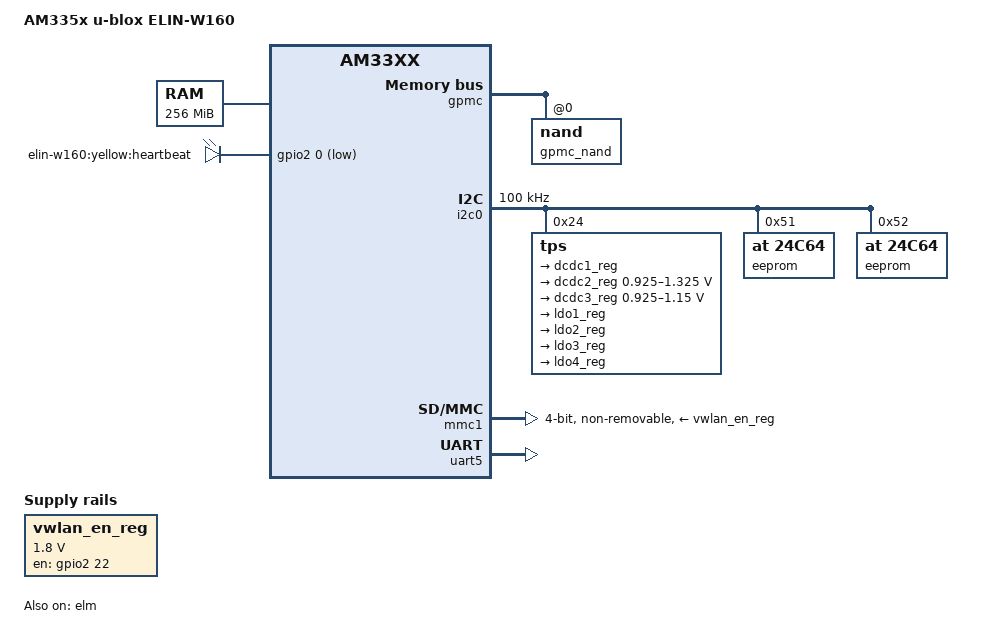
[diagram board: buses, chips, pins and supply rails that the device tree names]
/*
 * Device Tree for u-blox ELIN-W160 System-on-Module
 *
 * Copyright (C) 2014 Johan Hovold <johan@hovoldconsulting.com>
 *
 * This program is free software; you can redistribute it and/or modify
 * it under the terms of the GNU General Public License version 2 as
 * published by the Free Software Foundation.
 */

#include "am33xx.dtsi"

/ {
	model = "AM335x u-blox ELIN-W160";
	compatible = "u-blox,elin-w160", "ti,am33xx";

	cpus {
		cpu@0 {
			cpu0-supply = <&dcdc2_reg>;
			operating-points = <
				/* kHz    uV */
				800000  1300000
				600000  1112000
				300000   969000
			>;
		};
	};

	memory {
		device_type = "memory";
		reg = <0x80000000 0x10000000>;	/* 256 MB */
	};

	gpio-leds-som {
		compatible = "gpio-leds";
		pinctrl-names = "default";
		pinctrl-0 = <&gpio_leds_som_pins>;

		led@0 {
			label = "elin-w160:yellow:heartbeat";
			gpios = <&gpio2 0 GPIO_ACTIVE_LOW>;
			linux,default-trigger = "heartbeat";
		};
	};

	vwlan_en_reg: regulator-vwlan-en {
		compatible = "regulator-fixed";
		regulator-name = "vwlan_en";
		regulator-min-microvolt = <1800000>;
		regulator-max-microvolt = <1800000>;
		gpio = <&gpio2 22 0>;
		enable-active-high;
		startup-delay-us = <70000>;
		pinctrl-names = "default";
		pinctrl-0 = <&wlan_enable_pins>;
	};
};

&am33xx_pinmux {
	pinctrl-names = "default";
	pinctrl-0 = <
		&bluetooth_pins
		&clkout2_pins
		&wlan_pins
	>;

	bluetooth_pins: pinmux_bluetooth_pins {
		pinctrl-single,pins = <
			0xe4 (PIN_INPUT | MUX_MODE7)		/* lcd_hsync.gpio2_23	HOST_WAKEUP */
			0xe8 (PIN_OUTPUT | MUX_MODE7)		/* lcd_pclk.gpio2_24	RADIO_WAKEUP */
			0x138 (PIN_OUTPUT | MUX_MODE7)		/* mii1_rxd2.gpio2_19	BT_EN */
		>;
	};

	clkout2_pins: pinmux_clkout2_pins {
		pinctrl-single,pins = <
			0x1b4 (PIN_OUTPUT | MUX_MODE3)		/* xdma_event_intr1.clkout2 */
		>;
	};

	config_mem_pins: pinmux_config_mem_pins {
		pinctrl-single,pins = <
			0x48 (PIN_OUTPUT | MUX_MODE7)		/* gpmc_a2.gpio1_18	I2CMEM_WC */
		>;
	};

	cpsw_port1_pins: pinmux_cpsw_port1_pins {
		pinctrl-single,pins = <
			0x10c (PIN_INPUT_PULLDOWN | MUX_MODE1)	/* mii1_crs.rmii1_crs_dv */
			0x110 (PIN_INPUT_PULLDOWN | MUX_MODE1)	/* mii1_rx_er.rmii1_rxerr */
			0x114 (PIN_OUTPUT_PULLDOWN | MUX_MODE1)	/* mii1_tx_en.rmii1_txen */
			0x124 (PIN_OUTPUT_PULLDOWN | MUX_MODE1)	/* mii1_txd1.rmii1_txd1 */
			0x128 (PIN_OUTPUT_PULLDOWN | MUX_MODE1)	/* mii1_txd0.rmii1_txd0 */
			0x13c (PIN_INPUT_PULLDOWN | MUX_MODE1)	/* mii1_rxd1.rmii1_rxd1 */
			0x140 (PIN_INPUT_PULLDOWN | MUX_MODE1)	/* mii1_rxd0.rmii1_rxd0 */
			0x144 (PIN_INPUT_PULLDOWN | MUX_MODE0)	/* rmii1_ref_clk.rmii1_refclk */
		>;
	};

	cpsw_port1_pins_sleep: pinmux_cpsw_port1_pins_sleep {
		pinctrl-single,pins = <
			0x10c (PIN_INPUT_PULLDOWN | MUX_MODE7)
			0x110 (PIN_INPUT_PULLDOWN | MUX_MODE7)
			0x114 (PIN_INPUT_PULLDOWN | MUX_MODE7)
			0x124 (PIN_INPUT_PULLDOWN | MUX_MODE7)
			0x128 (PIN_INPUT_PULLDOWN | MUX_MODE7)
			0x13c (PIN_INPUT_PULLDOWN | MUX_MODE7)
			0x140 (PIN_INPUT_PULLDOWN | MUX_MODE7)
			0x144 (PIN_INPUT_PULLDOWN | MUX_MODE7)
		>;
	};

	cpsw_port2_pins: pinmux_cpsw_port2_pins {
		pinctrl-single,pins = <
			0x40 (PIN_OUTPUT_PULLDOWN | MUX_MODE3)	/* gpmc_a0.rmii2_txen */
			0x50 (PIN_OUTPUT_PULLDOWN | MUX_MODE3)	/* gpmc_a4.rmii2_txd1 */
			0x54 (PIN_OUTPUT_PULLDOWN | MUX_MODE3)	/* gpmc_a5.rmii2_txd0 */
			0x64 (PIN_INPUT_PULLDOWN | MUX_MODE3)	/* gpmc_a9.rmii2_crs_dv */
			0x68 (PIN_INPUT_PULLDOWN | MUX_MODE3)	/* gpmc_a10.rmii2_rxd1 */
			0x6c (PIN_INPUT_PULLDOWN | MUX_MODE3)	/* gpmc_a11.rmii2_rxd0 */
			0x108 (PIN_INPUT_PULLDOWN | MUX_MODE1)	/* mmii1_col.rmii2_refclk */
		>;
	};

	cpsw_port2_pins_sleep: pinmux_cpsw_port2_pins_sleep {
		pinctrl-single,pins = <
			0x40 (PIN_INPUT_PULLDOWN | MUX_MODE7)
			0x50 (PIN_INPUT_PULLDOWN | MUX_MODE7)
			0x54 (PIN_INPUT_PULLDOWN | MUX_MODE7)
			0x64 (PIN_INPUT_PULLDOWN | MUX_MODE7)
			0x68 (PIN_INPUT_PULLDOWN | MUX_MODE7)
			0x6c (PIN_INPUT_PULLDOWN | MUX_MODE7)
			0x108 (PIN_INPUT_PULLDOWN | MUX_MODE7)
		>;
	};

	gpio_leds_som_pins: pinmux_gpio_leds_som_pins {
		pinctrl-single,pins = <
			0x88 (PIN_OUTPUT | MUX_MODE7)		/* gpmc_csn3.gpio2_0 */
		>;
	};

	gpmc_pins: pinmux_gpmc_pins {
		pinctrl-single,pins = <
			0x0 (PIN_INPUT_PULLUP | MUX_MODE0)	/* gpmc_ad0.gpmc_ad0 */
			0x4 (PIN_INPUT_PULLUP | MUX_MODE0)	/* gpmc_ad1.gpmc_ad1 */
			0x8 (PIN_INPUT_PULLUP | MUX_MODE0)	/* gpmc_ad2.gpmc_ad2 */
			0xc (PIN_INPUT_PULLUP | MUX_MODE0)	/* gpmc_ad3.gpmc_ad3 */
			0x10 (PIN_INPUT_PULLUP | MUX_MODE0)	/* gpmc_ad4.gpmc_ad4 */
			0x14 (PIN_INPUT_PULLUP | MUX_MODE0)	/* gpmc_ad5.gpmc_ad5 */
			0x18 (PIN_INPUT_PULLUP | MUX_MODE0)	/* gpmc_ad6.gpmc_ad6 */
			0x1c (PIN_INPUT_PULLUP | MUX_MODE0)	/* gpmc_ad7.gpmc_ad7 */
			0x70 (PIN_INPUT_PULLUP | MUX_MODE0)	/* gpmc_wait0.gpmc_wait0 */
			0x74 (PIN_INPUT_PULLUP | MUX_MODE7)	/* gpmc_wpn.gpio0_30 */
			0x7c (PIN_OUTPUT | MUX_MODE0)		/* gpmc_csn0.gpmc_csn0  */
			0x90 (PIN_OUTPUT | MUX_MODE0)		/* gpmc_advn_ale.gpmc_advn_ale */
			0x94 (PIN_OUTPUT | MUX_MODE0)		/* gpmc_oen_ren.gpmc_oen_ren */
			0x98 (PIN_OUTPUT | MUX_MODE0)		/* gpmc_wen.gpmc_wen */
			0x9c (PIN_OUTPUT | MUX_MODE0)		/* gpmc_be0n_cle.gpmc_be0n_cle */
		>;
	};

	i2c0_pins: pinmux_i2c0_pins {
		pinctrl-single,pins = <
			0x188 (PIN_INPUT | MUX_MODE0)		/* i2c0_sda.i2c0_sda */
			0x18c (PIN_INPUT | MUX_MODE0)		/* i2c0_scl.i2c0_scl */
		>;
	};

	mdio_pins: pinmux_mdio_pins {
		pinctrl-single,pins = <
			0x148 (PIN_INPUT_PULLUP | SLEWCTRL_FAST | MUX_MODE0)	/* mdio_data.mdio_data */
			0x14c (PIN_OUTPUT_PULLUP | MUX_MODE0)			/* mdio_clk.mdio_clk */
		>;
	};

	mdio_pins_sleep: pinmux_mdio_pins_sleep {
		pinctrl-single,pins = <
			0x148 (PIN_INPUT_PULLDOWN | MUX_MODE7)
			0x14c (PIN_INPUT_PULLDOWN | MUX_MODE7)
		>;
	};

	mmc1_pins: pinmux_mmc1_pins {
		pinctrl-single,pins = <
			0xf0 (PIN_INPUT_PULLUP | MUX_MODE0)	/* mmc0_dat3.mmc0_dat3 */
			0xf4 (PIN_INPUT_PULLUP | MUX_MODE0)	/* mmc0_dat2.mmc0_dat2 */
			0xf8 (PIN_INPUT_PULLUP | MUX_MODE0)	/* mmc0_dat1.mmc0_dat1 */
			0xfc (PIN_INPUT_PULLUP | MUX_MODE0)	/* mmc0_dat0.mmc0_dat0 */
			0x100 (PIN_INPUT_PULLUP | MUX_MODE0)	/* mmc0_clk.mmc0_clk */
			0x104 (PIN_INPUT_PULLUP | MUX_MODE0)	/* mmc0_cmd.mmc0_cmd */
		>;
	};

	mmc2_clk_cmd_dat0_pins: pinmux_mmc2_clk_cmd_dat0_pins {
		pinctrl-single,pins = <
			0x20 (PIN_INPUT_PULLUP | MUX_MODE2)	/* gpmc_ad8.mmc1_dat0 */
			0x80 (PIN_INPUT_PULLUP | MUX_MODE2)	/* gpmc_csn1.mmc1_clk */
			0x84 (PIN_INPUT_PULLUP | MUX_MODE2)	/* gpmc_csn2.mmc1_cmd */
		>;
	};

	mmc2_dat1_3_pins: pinmux_mmc2_dat1_3_pins {
		pinctrl-single,pins = <
			0x24 (PIN_INPUT_PULLUP | MUX_MODE2)	/* gpmc_ad9.mmc1_dat1 */
			0x28 (PIN_INPUT_PULLUP | MUX_MODE2)	/* gpmc_ad10.mmc1_dat2 */
			0x2c (PIN_INPUT_PULLUP | MUX_MODE2)	/* gpmc_ad11.mmc1_dat3 */
		>;
	};

	mmc2_dat4_7_pins: pinmux_mmc2_dat4_7_pins {
		pinctrl-single,pins = <
			0x30 (PIN_INPUT_PULLUP | MUX_MODE2)	/* gpmc_ad12.mmc1_dat4 */
			0x34 (PIN_INPUT_PULLUP | MUX_MODE2)	/* gpmc_ad13.mmc1_dat5 */
			0x38 (PIN_INPUT_PULLUP | MUX_MODE2)	/* gpmc_ad14.mmc1_dat6 */
			0x3c (PIN_INPUT_PULLUP | MUX_MODE2)	/* gpmc_ad15.mmc1_dat7 */
		>;
	};

	uart5_pins: pinmux_uart5_pins {
		pinctrl-single,pins = <
			0xc0 (PIN_OUTPUT | MUX_MODE4)		/* lcd_data8.uart5_txd */
			0xc4 (PIN_INPUT_PULLUP | MUX_MODE4)	/* lcd_data9.uart5_rxd */
			0xd8 (PIN_INPUT_PULLUP | MUX_MODE6)	/* lcd_data14.uart5_ctsn */
			0xdc (PIN_OUTPUT | MUX_MODE6)		/* lcd_data15.uart5_rtsn */
		>;
	};

	wlan_pins: pinmux_wlan_pins {
		pinctrl-single,pins = <
			0x1b0 (PIN_INPUT | MUX_MODE7)		/* xdma_event_intr0.gpio0_19	WL_IRQ */
		>;
	};

	wlan_enable_pins: pinmux_wlan_enable_pins {
		pinctrl-single,pins = <
			0xe0 (PIN_OUTPUT | MUX_MODE7)		/* lcd_vsync.gpio2_22	WL_EN */
		>;
	};
};

&elm {
	status = "okay";
};

&gpmc {
	ranges = <0 0 0 0x01000000>;	/* 16MB GPMC partition */

	pinctrl-names = "default";
	pinctrl-0 = <&gpmc_pins>;

	status = "okay";

	gpmc_nand: nand@0,0 {
		reg = <0 0 4>;			/* device IO registers */
		ti,nand-ecc-opt = "bch8";
		ti,elm-id = <&elm>;
		nand-bus-width = <8>;

		gpmc,device-width = <1>;
		gpmc,sync-clk-ps = <0>;
		gpmc,cs-on-ns = <0>;
		gpmc,cs-rd-off-ns = <44>;
		gpmc,cs-wr-off-ns = <44>;
		gpmc,adv-on-ns = <6>;
		gpmc,adv-rd-off-ns = <34>;
		gpmc,adv-wr-off-ns = <44>;
		gpmc,we-on-ns = <0>;
		gpmc,we-off-ns = <40>;
		gpmc,oe-on-ns = <0>;
		gpmc,oe-off-ns = <54>;
		gpmc,access-ns = <64>;
		gpmc,rd-cycle-ns = <82>;
		gpmc,wr-cycle-ns = <82>;
		gpmc,wait-on-read;
		gpmc,wait-on-write;
		gpmc,bus-turnaround-ns = <0>;
		gpmc,cycle2cycle-delay-ns = <0>;
		gpmc,clk-activation-ns = <0>;
		gpmc,wait-monitoring-ns = <0>;
		gpmc,wr-access-ns = <40>;
		gpmc,wr-data-mux-bus-ns = <0>;

		#address-cells = <1>;
		#size-cells = <1>;
	};
};

&i2c0 {
	clock-frequency = <100000>;

	pinctrl-names = "default";
	pinctrl-0 = <&i2c0_pins>;
	status = "okay";

	tps: tps@24 {
		reg = <0x24>;
	};

	/* ODIN-W160 EEPROM */
	eeprom@51 {
		compatible = "at,24c64";
		reg = <0x51>;
		pagesize = <32>;
	};

	/* Configuration memory */
	eeprom@52 {
		compatible = "at,24c64";
		reg = <0x52>;
		pagesize = <32>;
	};
};

/* ODIN-W160 WLAN SDIO */
&mmc1 {
	non-removable;
	bus-width = <4>;
	cap-power-off-card;

	vmmc-supply = <&vwlan_en_reg>;

	pinctrl-names = "default";
	pinctrl-0 = <&mmc1_pins>;
	status = "okay";
};

/* ODIN-W160 Bluetooth UART */
&uart5 {
	pinctrl-names = "default";
	pinctrl-0 = <&uart5_pins>;
	status = "okay";
};

&rtc {
	system-power-controller;
};

#include "tps65217.dtsi"

&tps {
	/*
	 * Set the "ti,pmic-shutdown-controller" property to have the PMIC
	 * enter OFF rather than SLEEP mode on power off. Note that this
	 * will prevent wake up on RTC alarm.
	 */

	regulators {
		dcdc1_reg: regulator@0 {
			regulator-name = "vdds_ddr";
			regulator-boot-on;
			regulator-always-on;
		};

		dcdc2_reg: regulator@1 {
			regulator-name = "vdd_mpu";
			regulator-min-microvolt = <925000>;
			regulator-max-microvolt = <1325000>;
			regulator-boot-on;
			regulator-always-on;
		};

		dcdc3_reg: regulator@2 {
			regulator-name = "vdd_core";
			regulator-min-microvolt = <925000>;
			regulator-max-microvolt = <1150000>;
			regulator-boot-on;
			regulator-always-on;
		};

		ldo1_reg: regulator@3 {
			regulator-name = "vdd_rtc";
			regulator-boot-on;
			regulator-always-on;
		};

		ldo2_reg: regulator@4 {
			regulator-name = "vdd_3v3aux";
			regulator-boot-on;
			regulator-always-on;
		};

		ldo3_reg: regulator@5 {
			regulator-name = "vdd_1v8";
			regulator-boot-on;
			regulator-always-on;
		};

		ldo4_reg: regulator@6 {
			regulator-name = "vdd_3v3a";
			regulator-boot-on;
			regulator-always-on;
		};
	};
};
